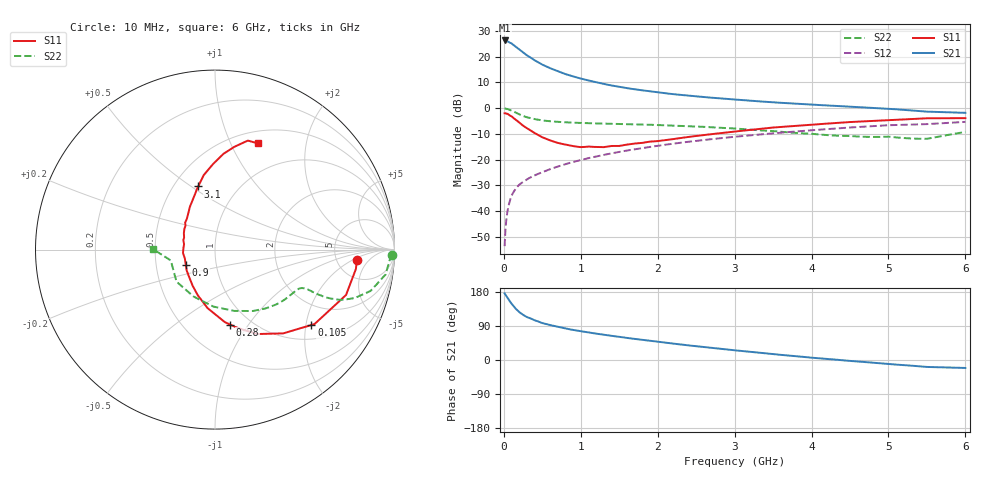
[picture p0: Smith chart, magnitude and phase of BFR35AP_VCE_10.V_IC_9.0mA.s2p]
! Infineon Technologies  Discrete & RF Semiconductors
! BFR35AP
! VCE =  10. V,  IC =  9.0 mA
! Common Emitter S-Parameters:  Nov 2015
# GHz  S  MA  R  50
!  f  S11  S21  S12  S22
! GHz  MAG  ANG  MAG  ANG  MAG  ANG  MAG  ANG
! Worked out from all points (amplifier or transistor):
!   210 points, 10 MHz to 6 GHz, reference 50 ohm
!   highest |S21| = 26.2 dB at 10 MHz (marker M1)
!   |S21| within 3 dB of that: start of sweep to 179.6 MHz
!   unconditionally stable (mu >= 1): 682.7 MHz to 2.802 GHz
!   at 185 MHz: K = 0.50, MSG = 26.7 dB, |S12| = -30.2 dB
!   at 1.52 GHz: K = 1.09, MAG = 10.7 dB, |S12| = -16.9 dB
!   at 6 GHz: K = 0.88, MSG = 1.8 dB, |S12| = -5.3 dB
!   S11 on the Smith chart (normalised r, x): 10 MHz: 7.91, -2.35; 105 MHz: 1.37, -2.15; 280 MHz: 0.81, -0.82; 900 MHz: 0.71, -0.12; 3.1 GHz: 0.66, +0.53; 6 GHz: 0.64, +1.28
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0.01  0.7921 -4.0  20.5 175.9  0.0021 93.5  0.9879 -1.6
0.025  0.7871 -9.6  19.99 171.0  0.0052 84.1  0.9722 -4.2
0.05  0.7726 -19.1  19.63 163.1  0.0106 80.5  0.9608 -8.3
0.1  0.6925 -36.8  18.01 148.5  0.02 73.6  0.8966 -14.9
0.105  0.6819 -38.0  17.74 147.4  0.0207 72.8  0.889 -15.3
0.15  0.6024 -50.8  15.68 136.0  0.0268 67.6  0.8225 -19.2
0.2  0.527 -63.2  13.78 126.5  0.0327 64.5  0.7585 -21.7
0.24  0.4688 -71.4  12.36 120.6  0.0361 63.0  0.7146 -22.6
0.28  0.4258 -78.7  11.13 115.7  0.0397 62.7  0.6795 -23.2
0.3  0.4076 -82.3  10.56 113.3  0.0416 62.7  0.6635 -23.4
0.4  0.3288 -97.2  8.462 104.8  0.0496 62.4  0.611 -23.5
0.5  0.2721 -110.6  6.964 97.4  0.0571 63.6  0.5757 -23.3
0.6  0.2369 -121.7  5.951 92.1  0.0652 63.7  0.5546 -23.2
0.7  0.2117 -132.5  5.179 87.4  0.0734 64.9  0.5408 -23.5
0.9  0.1833 -152.8  4.104 79.3  0.0902 65.0  0.5213 -24.4
1.02  0.1755 -165.8  3.675 75.3  0.0999 65.3  0.5137 -25.3
1.4  0.1842 163.0  2.743 63.8  0.1322 64.1  0.4965 -29.4
2.02  0.231 133.1  2.007 47.7  0.1875 60.2  0.4683 -38.5
3.1  0.3639 104.9  1.429 23.7  0.2868 50.1  0.3915 -60.9
4.1  0.4883 89.9  1.147 4.5  0.3811 39.0  0.3078 -95.8
5.1  0.5921 78.1  0.948 -12.1  0.4694 25.3  0.2699 -144.9
6  0.6381 67.9  0.809 -21.0  0.5402 14.7  0.3457 179.5
